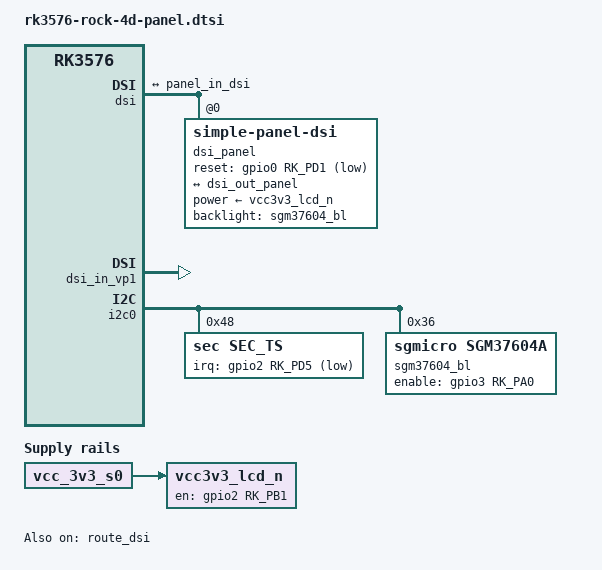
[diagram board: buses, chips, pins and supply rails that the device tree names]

/ {
	vcc3v3_lcd_n: vcc3v3-lcd0-n {
		compatible = "regulator-fixed";
		regulator-name = "vcc3v3_lcd0_n";
		regulator-boot-on;
		enable-active-high;
		gpio = <&gpio2 RK_PB1 GPIO_ACTIVE_HIGH>;
		vin-supply = <&vcc_3v3_s0>;
	};
};

&dsi {
	status = "okay";
	dsi_panel: panel@0 {
		status = "okay";
		compatible = "simple-panel-dsi";
		reg = <0>;
		backlight = <&sgm37604_bl>;
		power-supply = <&vcc3v3_lcd_n>;
		reset-gpios = <&gpio0 RK_PD1 GPIO_ACTIVE_LOW>;
		pinctrl-0 = <&lcd_rst>;
		prepare-delay-ms = <40>;
		reset-delay-ms = <60>;
		init-delay-ms = <80>;
		stbyb-delay-ms = <20>;
		enable-delay-ms = <60>;
		disable-delay-ms = <20>;
		unprepare-delay-ms = <20>;
		width-mm = <135>;
		height-mm = <216>;
		dsi,flags = <(MIPI_DSI_MODE_VIDEO | MIPI_DSI_MODE_VIDEO_BURST |
			      MIPI_DSI_MODE_LPM | MIPI_DSI_MODE_NO_EOT_PACKET | MIPI_DSI_CLOCK_NON_CONTINUOUS)>;
		dsi,format = <MIPI_DSI_FMT_RGB888>;
		dsi,lanes  = <4>;
		panel-init-sequence = [
			05 78 01 11
			05 0A 01 29
		];

		panel-exit-sequence = [
			05 10 01 28
			05 78 01 10
		];

		disp_timings0: display-timings {
			native-mode = <&dsi_timing0>;
			dsi_timing0: timing0 {
				clock-frequency = <157000000>;
				hactive = <1080>;
				hfront-porch = <115>;
				hback-porch = <13>;
				hsync-len = <3>;
				vactive = <2160>;
				vfront-porch = <10>;
				vback-porch = <10>;
				vsync-len = <2>;
				hsync-active = <0>;
				vsync-active = <0>;
				de-active = <0>;
				pixelclk-active = <0>;
			};
		};

		ports {
			#address-cells = <1>;
			#size-cells = <0>;

			port@0 {
				reg = <0>;
				panel_in_dsi: endpoint {
					remote-endpoint = <&dsi_out_panel>;
				};
			};
		};
	};

	ports {
		#address-cells = <1>;
		#size-cells = <0>;

		port@1 {
			reg = <1>;
			dsi_out_panel: endpoint {
				remote-endpoint = <&panel_in_dsi>;
			};
		};
	};
};

&dsi_in_vp1 {
	status = "okay";
};

&route_dsi {
	status = "okay";
	connect = <&vp1_out_dsi>;
};

&i2c0 {
	status = "okay";
	pinctrl-0 = <&i2c0m1_xfer>;

	sec_ts: sec_ts@48 {
		compatible = "sec,sec_ts";
		reg = <0x48>;
		status = "okay";
		pinctrl-names = "default";
		pinctrl-0 = <&ts_irq>;
		sec,irq_gpio = <&gpio2 RK_PD5 GPIO_ACTIVE_LOW>;
		sec,max_coords = <1080>, <2160>;
	};

	sgm37604_bl: backlight@36 {
		compatible = "sgmicro,sgm37604a";
		reg = <0x36>;
		sgmicro,led-channels = <0x07>;  // bit0 for dev_en and bit1~bit4 for led_channel1~led_channel4
		sgmicro,max-current = <0>;      // 00->25ma 01->30ma 10->35ma 11->40ma
		default-brightness = <80>;
		enable-gpios = <&gpio3 RK_PA0 GPIO_ACTIVE_HIGH>;
	};
};

&pinctrl {
	touch {
		ts_irq: ts-irq {
			rockchip,pins = <2 RK_PD5 RK_FUNC_GPIO &pcfg_pull_none>;
		};
	};

	dsi {
		lcd_rst: lcd-rst {
			rockchip,pins = <0 RK_PD1 RK_FUNC_GPIO &pcfg_pull_none>;
		};
	};
};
